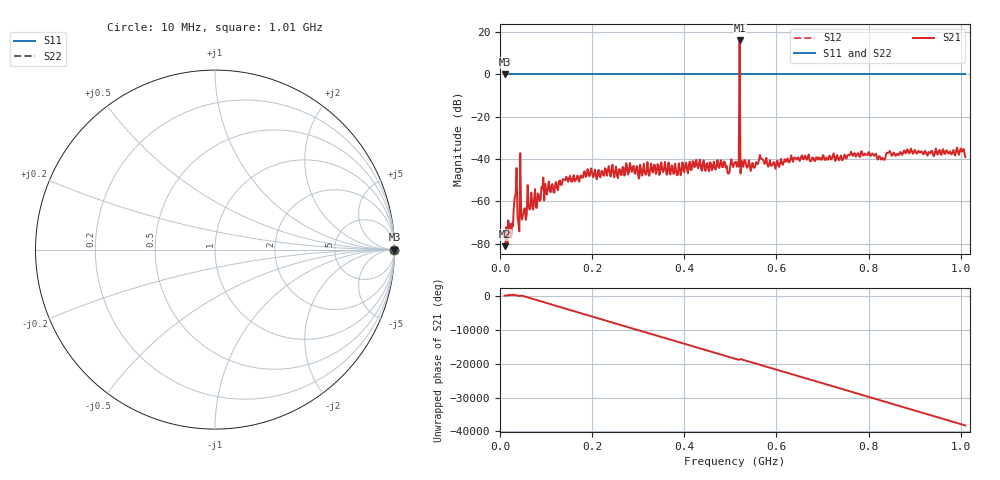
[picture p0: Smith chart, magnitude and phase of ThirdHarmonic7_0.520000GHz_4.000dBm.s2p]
! 8/17/2025 3:17:36 PM
! C:\ANRITSUVNA\TEMP\TEMP.S2P
! CHANNEL.1
! TR.MEASUREMENT
! RAW.DATA
! RF.CORRECTION.OFF
! AVERAGING.OFF
! IF.BANDWIDTH: 5KHZ
! SWEEPTYPE:  FREQ.SWEEP(Linear)
! Reference Plane Port Info
! PORT:  PORT1  PORT2
! DISTANCE:  0  m  0  m
! TIME:  0  s  0  s
! PHASE.OFFSET:  0  deg.  0  deg.
! LOSS:  0  dB  0  dB
! REF.LOSS:  0  dB  0  dB
! REF.FREQ:  0  Hz  0  Hz
! Power Info
! POWER:  -20  dBm  -20  dBm
! EFF.POWER:  -20  dBm  -20  dBm
! SOURCE.ATTEN:  0  dB  0  dB
! TEST.ATTEN:  0  dB  0  dB
# GHZ S RI R 50.0
! FREQ.GHZ  S11RE  S11IM  S21RE  S21IM  S12RE  S12IM  S22RE  S22IM
!; PortSelection: Port_12
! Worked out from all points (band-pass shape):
!   501 points, 10 MHz to 1.01 GHz, reference 50 ohm
!   highest |S21| = 15.88 dB at 520 MHz (marker M1); lowest = -81.1 dB at 10 MHz (marker M2)
!   |S21| within 3 dB of the highest: 519.8991 MHz to 520.0957 MHz (196.6 kHz wide, 0.0378 % of centre)
!   lowest |S11| = 0.0 dB at 10 MHz (marker M3)
!   |S11| at or under -10 dB: nowhere
!   |S22| runs from 0.0 to 0.0 dB; largest |S21 - S12| = 5.8
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0.01  1 0  -4.98e-05 7.28e-05  1 0  1 0
0.024  1 0  -5.38e-05 -0.00013  1 0  1 0
0.034  1 0  -0.00144 -0.00042  1 0  1 0
0.038  1 0  -0.000325 0.000283  1 0  1 0
0.04  1 0  0.000265 0.00016  1 0  1 0
0.042  1 0  9.24e-05 -0.000175  1 0  1 0
0.048  1 0  0.000338 0.000156  1 0  1 0
0.052  1 0  0.000409 -0.000499  1 0  1 0
0.064  1 0  -0.000515 0.00038  1 0  1 0
0.082  1 0  -0.00125 0.000887  1 0  1 0
0.094  1 0  -0.000399 0.00362  1 0  1 0
0.178  1 0  -0.00346 -0.00108  1 0  1 0
0.344  1 0  0.00703 -0.00194  1 0  1 0
0.51  1 0  -0.00765 -0.00365  1 0  1 0
0.514  1 0  0.00548 0.00361  1 0  1 0
0.516  1 0  0.00599 -0.00579  1 0  1 0
0.52  1 0  2.968 -5.468  1 0  1 0
0.524  1 0  0.00902 -0.00125  1 0  1 0
0.526  1 0  -0.00261 -0.00806  1 0  1 0
0.678  1 0  0.00514 -0.00961  1 0  1 0
0.844  1 0  -0.00584 0.0131  1 0  1 0
1.01  1 0  -0.000418 -0.0111  1 0  1 0
